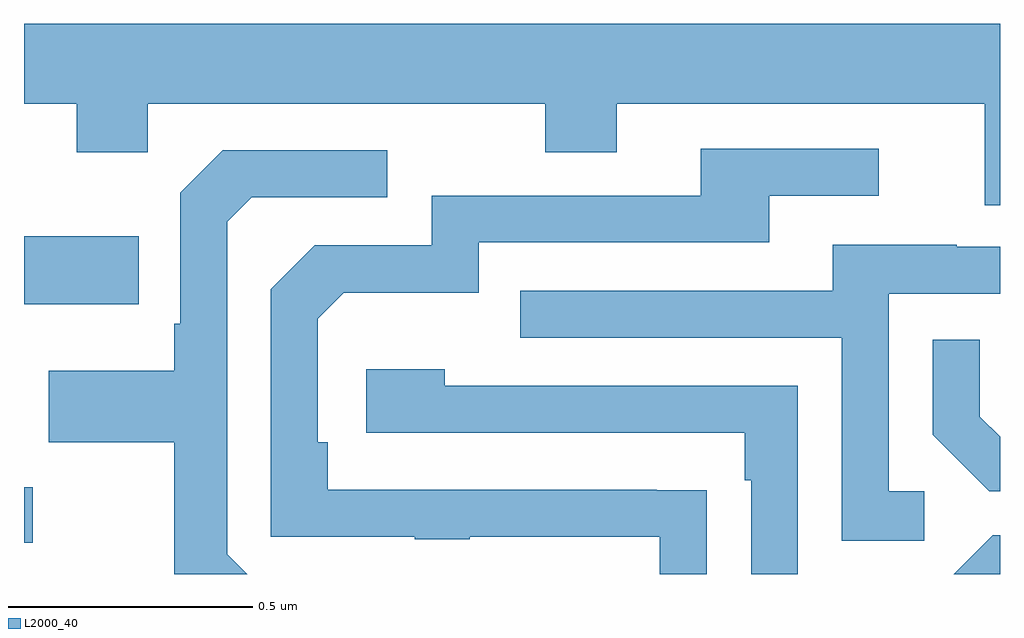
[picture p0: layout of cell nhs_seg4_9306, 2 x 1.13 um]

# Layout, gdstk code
import gdstk
lib = gdstk.Library(unit=1e-6, precision=1e-09)
def R(c, l, rs):  # rectangles x0, y0, x1, y1
    for r in rs: c.add(gdstk.rectangle(r[:2], r[2:], *l))
def P(c, l, *ps):  # polygons
    for p in ps: c.add(gdstk.Polygon(p, *l))
L2000_40 = (2000, 40)

nhs_seg4_9306 = lib.new_cell('nhs_seg4_9306')
R(nhs_seg4_9306, L2000_40, [(226,751.965,226.018,752.078), (226,752.453,226.235,752.593)])
P(nhs_seg4_9306, L2000_40, [(228,753.028),(226,753.028),(226,752.864),(226.108,752.864),(226.108,752.765),(226.254,752.765),(226.254,752.864),(227.068,752.864),(227.068,752.765),(227.215,752.765),(227.215,752.864),(227.969,752.864),(227.969,752.656),(228,752.656)],
  [(227.399,752.072),(227.297,752.072),(227.297,752.073),(226.622,752.073),(226.622,752.17),(226.602,752.17),(226.602,752.424),(226.655,752.477),(226.932,752.477),(226.932,752.58),(227.527,752.58),(227.527,752.676),(227.752,752.676),(227.752,752.772),(227.387,752.772),(227.387,752.676),(226.836,752.676),(226.836,752.574),(226.596,752.574),(226.506,752.484),(226.506,751.977),(226.801,751.977),(226.801,751.972),(226.913,751.972),(226.913,751.977),(227.303,751.977),(227.303,751.9),(227.399,751.9)],
  [(226.416,751.941),(226.416,752.622),(226.467,752.673),(226.744,752.673),(226.744,752.769),(226.407,752.769),(226.32,752.682),(226.32,752.413),(226.308,752.413),(226.308,752.317),(226.051,752.317),(226.051,752.17),(226.308,752.17),(226.308,751.9),(226.457,751.9)],
  [(227.845,752.07),(227.772,752.07),(227.772,752.475),(228,752.475),(228,752.571),(227.911,752.571),(227.911,752.575),(227.657,752.575),(227.657,752.481),(227.017,752.481),(227.017,752.385),(227.676,752.385),(227.676,751.969),(227.845,751.969)],
  [(228,752.182),(227.959,752.223),(227.959,752.38),(227.862,752.38),(227.862,752.186),(227.978,752.07),(228,752.07)],
  [(227.586,752.286),(226.862,752.286),(226.862,752.32),(226.701,752.32),(226.701,752.19),(227.477,752.19),(227.477,752.093),(227.49,752.093),(227.49,751.9),(227.586,751.9)],
  [(228,751.98),(227.985,751.98),(227.905,751.9),(228,751.9)])

lib.write_gds('nhs_seg4_9306.gds')
